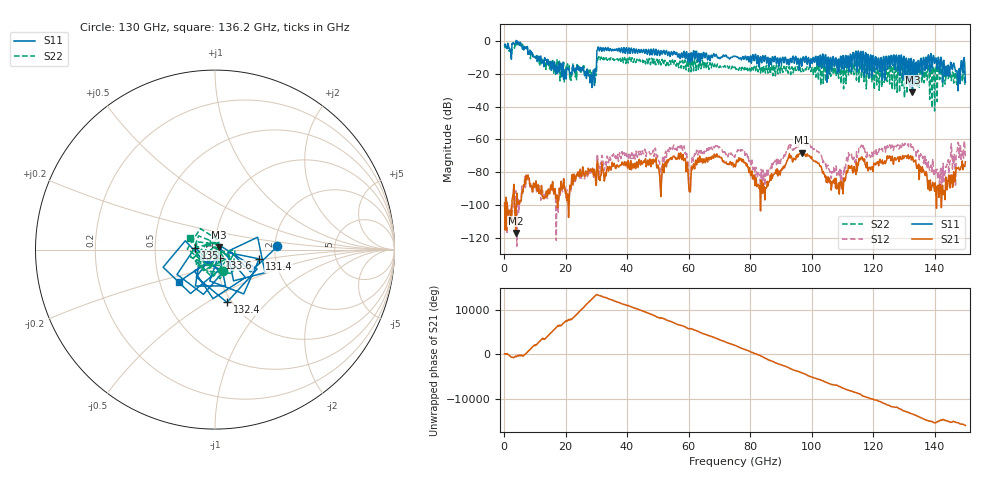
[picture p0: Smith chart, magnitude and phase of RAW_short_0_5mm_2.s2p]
!  2-Port S-parameters saved by WinCal
! VAR NAME=RAW_LRRM_short_0.5mm_2
! VAR DATE=08/08/2022 22:11:40
! VAR FILENAME=RAW_LRRM_short_0.5mm_2.S2P
! VAR MeasName=S-Parameters (CALIBRATED_DATA) read from VNA (MS4647B)
! VAR MeasDate=26-Apr-22 16:31:44
! VAR PHYS_PORTS=1,2
! VAR ObjTypeName=DATASET
! VAR IndexType=Frequency
! VAR ChuckHeaterState=Unknown
! VAR ChuckTemp=NaN
! VAR ChuckTempUnits=Unknown
# Hz S RI R 50
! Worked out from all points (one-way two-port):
!   750 points, 200 MHz to 150 GHz, reference 50 ohm
!   highest |S21| = -68.04 dB at 96.8 GHz (marker M1); lowest = -117.1 dB at 3.8 GHz (marker M2)
!   lowest |S11| = -31.3 dB at 132.8 GHz (marker M3), VSWR 1.06, Z = 52.4 + j1.37 ohm
!   |S11| at or under -10 dB: 13.21 GHz to 30.13 GHz (16.93 GHz wide, 78.1 % of centre); 130 GHz to 136.4 GHz (6.328 GHz wide, 4.75 % of centre); 142.1 GHz to 149.6 GHz (7.535 GHz wide, 5.17 % of centre) (the widest 3 of 83)
!   |S22| runs from -42.6 to -0.7 dB; largest |S21 - S12| = 0.0012
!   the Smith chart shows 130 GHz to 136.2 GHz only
!   S11 on the Smith chart (normalised r, x): 130 GHz: 2.06, +0.08; 131.4 GHz: 1.64, -0.18; 132.4 GHz: 0.95, -0.61; 133.6 GHz: 1.05, -0.09; 135 GHz: 0.80, +0.02; 136.2 GHz: 0.63, -0.24
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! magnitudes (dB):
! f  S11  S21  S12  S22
! 200 MHz  -2.3  -98.8  -100.6  -3.9
! 3.8 GHz  -0.7  -117.1  -91.2  -3.3
! 25.2 GHz  -16.2  -82.7  -84.3  -17.5
! 28.8 GHz  -21.9  -77.6  -78.6  -23.1
! 31 GHz  -5.9  -82.7  -77.9  -10.2
! 50.2 GHz  -5.5  -76.6  -72.4  -14.5
! 75.2 GHz  -9.2  -76.7  -69.6  -16.0
! 85.2 GHz  -10.8  -89.7  -82.9  -15.4
! 96.8 GHz  -15.3  -68.0  -61.2  -16.9
! 100.2 GHz  -13.5  -72.2  -65.2  -15.8
! 106.4 GHz  -13.5  -90.9  -83.9  -18.5
! 116 GHz  -6.1  -72.0  -64.3  -13.1
! 125.2 GHz  -9.1  -71.2  -65.2  -20.1
! 130 GHz  -9.2  -71.4  -63.6  -18.0
! 131.4 GHz  -12.0  -69.4  -62.6  -15.7
! 132.4 GHz  -10.4  -72.4  -65.1  -17.5
! 132.8 GHz  -31.3  -70.4  -64.5  -22.0
! 133.6 GHz  -25.7  -73.3  -67.2  -20.7
! 135 GHz  -19.0  -84.5  -72.4  -28.1
! 136.2 GHz  -11.5  -79.0  -70.2  -16.4
! 141.6 GHz  -19.2  -90.7  -92.4  -23.4
! 150 GHz  -25.0  -73.6  -71.1  -22.5
